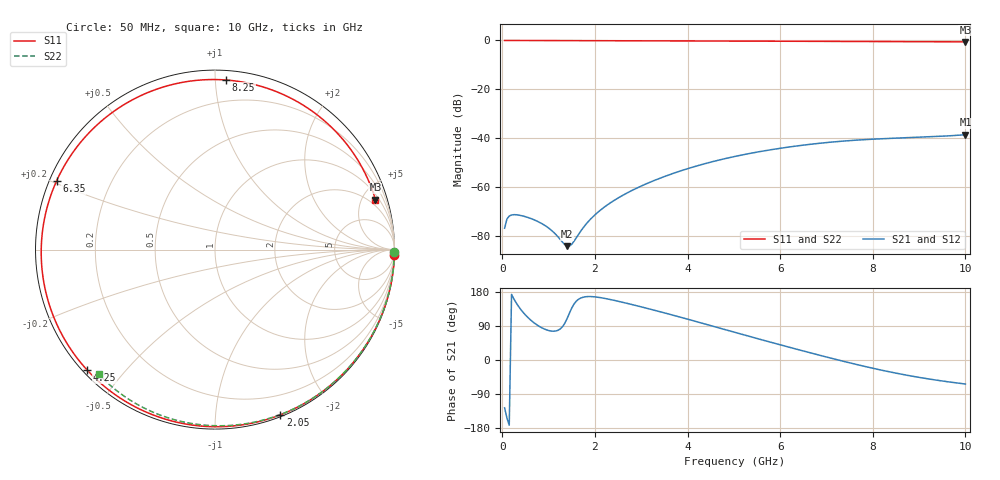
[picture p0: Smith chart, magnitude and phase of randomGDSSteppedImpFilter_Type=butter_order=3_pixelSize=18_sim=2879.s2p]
! freq	dB(S11)	phase(S11)	dB(S12)	phase(S12)
!  dB(S21)	phase(S21)	dB(S22)	phase(S22)
!S-par simulation data
#  GHz  S  DB  R 50
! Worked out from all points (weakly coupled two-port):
!   200 points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, 50 MHz to 10 GHz, reference 50 ohm
!   highest |S21| = -38.58 dB at 10 GHz (marker M1); lowest = -84.2 dB at 1.4 GHz (marker M2)
!   lowest |S11| = -0.6 dB at 10 GHz (marker M3), VSWR 30.39, Z = 69.5 + j314 ohm
!   |S11| at or under -10 dB: nowhere
!   |S22| runs from -0.4 to 0.0 dB; largest |S21 - S12| = 0
!   S11 on the Smith chart (normalised r, x): 50 MHz: 0, -67; 2.05 GHz: 0.02, -1.47; 4.25 GHz: 0.01, -0.40; 6.35 GHz: 0.02, +0.21; 8.25 GHz: 0.06, +1.07; 10 GHz: 1.39, +6.27
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0.05  -0.00 -1.7  -76.83 -126.2  -76.83 -126.2  -0.00 -0.8
0.1  -0.00 -3.4  -73.08 -153.1  -73.08 -153.1  -0.00 -1.5
0.15  -0.00 -5.2  -71.87 -172.1  -71.87 -172.1  -0.00 -2.3
0.3  -0.01 -10.3  -71.33 150.7  -71.33 150.7  -0.00 -4.6
0.8  -0.03 -27.3  -74.40 88.6  -74.40 88.6  -0.01 -12.2
1.2  -0.05 -40.7  -80.31 78.2  -80.31 78.2  -0.02 -18.3
1.4  -0.06 -47.3  -84.19 109.5  -84.19 109.5  -0.03 -21.3
1.6  -0.07 -53.9  -80.70 155.5  -80.70 155.5  -0.03 -24.3
1.75  -0.07 -58.8  -76.56 165.8  -76.56 165.8  -0.03 -26.5
2.05  -0.09 -68.4  -70.53 165.9  -70.53 165.9  -0.04 -30.9
2.6  -0.11 -85.9  -63.38 152.3  -63.38 152.3  -0.05 -39.0
3.4  -0.14 -110.7  -56.41 127.6  -56.41 127.6  -0.07 -50.4
4.25  -0.19 -136.6  -51.08 99.4  -51.08 99.4  -0.09 -62.2
5.05  -0.24 -161.2  -47.35 72.0  -47.35 72.0  -0.11 -73.0
5.7  -0.29 178.2  -45.03 50.1  -45.03 50.1  -0.14 -81.5
6.35  -0.34 156.6  -43.20 28.7  -43.20 28.7  -0.16 -89.7
6.7  -0.36 144.5  -42.39 17.4  -42.39 17.4  -0.18 -94.1
7.55  -0.43 113.4  -40.92 -8.9  -40.92 -8.9  -0.23 -104.4
8.25  -0.47 86.3  -40.18 -28.4  -40.18 -28.4  -0.28 -112.7
8.35  -0.48 82.3  -40.10 -31.0  -40.10 -31.0  -0.29 -113.9
9.1  -0.52 52.4  -39.54 -47.9  -39.54 -47.9  -0.35 -122.6
10  -0.57 17.3  -38.58 -63.4  -38.58 -63.4  -0.45 -133.0
